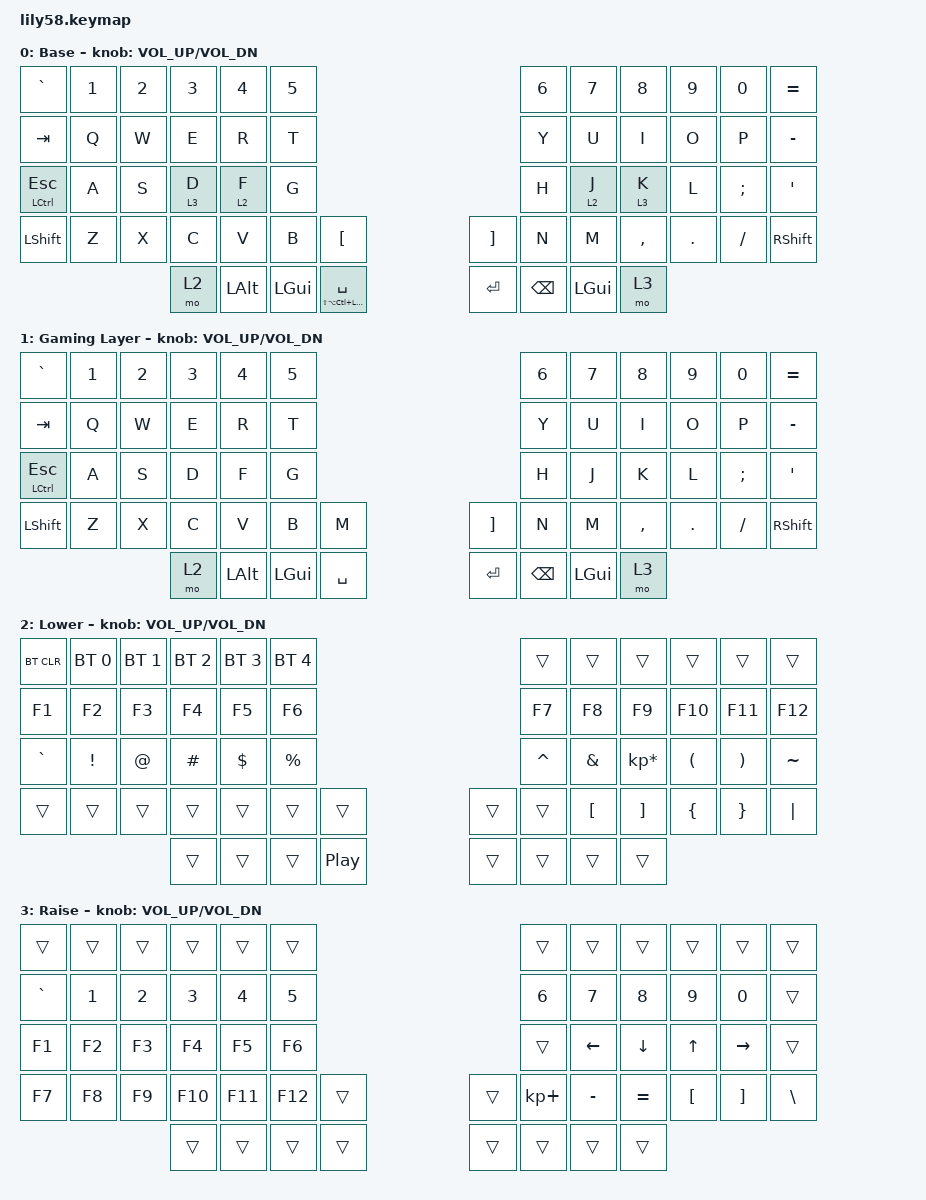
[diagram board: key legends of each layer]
/*
 * Copyright (c) 2020 The ZMK Contributors
 *
 * SPDX-License-Identifier: MIT
 */

#include <behaviors.dtsi>
#include <dt-bindings/zmk/bt.h>
#include <dt-bindings/zmk/keys.h>

/ {
    // https://zmk.dev/docs/keymaps/behaviors/hold-tap?examples=home_row_mods

    behaviors {
        hm: home_row_mod {
            compatible = "zmk,behavior-hold-tap";
            #binding-cells = <2>;
            flavor = "balanced";
            require-prior-idle-ms = <150>;
            tapping-term-ms = <280>;
            quick-tap-ms = <175>;
            bindings = <&kp>, <&kp>;

            hold-trigger-on-release;
        };
    };

    combos {
        compatible = "zmk,combos";

        combo_to_game_layer {
            bindings = <&to 1>;
            key-positions = <42 54 43 53>;
            layers = <0>;
        };

        combo_to_base_layer {
            bindings = <&to 0>;
            key-positions = <42 43 54 53>;
            layers = <1>;
        };
    };

    keymap {
        compatible = "zmk,keymap";

        default_layer {
            // ------------------------------------------------------------------------------------------------------------
            // |  ESC  |  1  |  2  |  3   |  4   |  5   |                   |  6   |  7    |  8    |  9   |   0   |   `   |
            // |  TAB  |  Q  |  W  |  E   |  R   |  T   |                   |  Y   |  U    |  I    |  O   |   P   |   -   |
            // |  CTRL |  A  |  S  |  D   |  F   |  G   |                   |  H   |  J    |  K    |  L   |   ;   |   '   |
            // | SHIFT |  Z  |  X  |  C   |  V   |  B   |   "["  |  |  "]"  |  N   |  M    |  ,    |  .   |   /   | SHIFT |
            //                     | ALT  | GUI  | LOWER|  SPACE |  | ENTER | RAISE| BSPC  | GUI   |

            display-name = "Base";
            bindings = <
&kp GRAVE         &kp N1  &kp N2  &kp N3   &kp N4    &kp N5                                                    &kp N6         &kp N7    &kp N8     &kp N9   &kp N0    &kp EQUAL
&kp TAB           &kp Q   &kp W   &kp E    &kp R     &kp T                                                     &kp Y          &kp U     &kp I      &kp O    &kp P     &kp MINUS
&mt LCTRL ESCAPE  &kp A   &kp S   &lt 3 D  &lt 2 F   &kp G                                                     &kp H          &lt 2 J   &lt 3 K    &kp L    &kp SEMI  &kp SQT
&kp LSHFT         &kp Z   &kp X   &kp C    &kp V     &kp B         &kp LBKT                          &kp RBKT  &kp N          &kp M     &kp COMMA  &kp DOT  &kp FSLH  &kp RSHFT
                                  &mo 2    &kp LALT  &kp LEFT_GUI  &hm LS(LA(LC(LEFT_GUI))) SPACE    &kp RET   &kp BACKSPACE  &kp LGUI  &mo 3
            >;

            sensor-bindings = <&inc_dec_kp C_VOL_UP C_VOL_DN>;
        };

        gaming_layer {
            display-name = "Gaming Layer";
            bindings = <
&kp GRAVE         &kp N1  &kp N2  &kp N3  &kp N4    &kp N5                               &kp N6         &kp N7    &kp N8     &kp N9   &kp N0    &kp EQUAL
&kp TAB           &kp Q   &kp W   &kp E   &kp R     &kp T                                &kp Y          &kp U     &kp I      &kp O    &kp P     &kp MINUS
&mt LCTRL ESCAPE  &kp A   &kp S   &kp D   &kp F     &kp G                                &kp H          &kp J     &kp K      &kp L    &kp SEMI  &kp SQT
&kp LSHFT         &kp Z   &kp X   &kp C   &kp V     &kp B         &kp M        &kp RBKT  &kp N          &kp M     &kp COMMA  &kp DOT  &kp FSLH  &kp RSHFT
                                  &mo 2   &kp LALT  &kp LEFT_GUI  &kp SPACE    &kp RET   &kp BACKSPACE  &kp LGUI  &mo 3
            >;

            sensor-bindings = <&inc_dec_kp C_VOL_UP C_VOL_DN>;
        };

        lower_layer {
            // ------------------------------------------------------------------------------------------------------------
            // | BTCLR | BT1 | BT2 |  BT3 |  BT4 |  BT5 |                   |      |       |       |      |       |       |
            // |  F1   |  F2 |  F3 |  F4  |  F5  |  F6  |                   |  F7  |  F8   |  F9   |  F10 |  F11  |  F12  |
            // |   `   |  !  |  @  |  #   |  $   |  %   |                   |  ^   |  &    |  *    |  (   |   )   |   ~   |
            // |       |     |     |      |      |      |        |  |       |      |  _    |  +    |  {   |   }   |  "|"  |
            //                     |      |      |      |        |  |       |      |       |       |

            display-name = "Lower";
            bindings = <
&bt BT_CLR  &bt BT_SEL 0  &bt BT_SEL 1  &bt BT_SEL 2  &bt BT_SEL 3  &bt BT_SEL 4                              &trans     &trans            &trans             &trans    &trans    &trans
&kp F1      &kp F2        &kp F3        &kp F4        &kp F5        &kp F6                                    &kp F7     &kp F8            &kp F9             &kp F10   &kp F11   &kp F12
&kp GRAVE   &kp EXCL      &kp AT        &kp HASH      &kp DOLLAR    &kp PRCNT                                 &kp CARET  &kp AMPS          &kp KP_MULTIPLY    &kp LPAR  &kp RPAR  &kp TILDE
&trans      &trans        &trans        &trans        &trans        &trans        &trans              &trans  &trans     &kp LEFT_BRACKET  &kp RIGHT_BRACKET  &kp LBRC  &kp RBRC  &kp PIPE
                                        &trans        &trans        &trans        &kp C_PLAY_PAUSE    &trans  &trans     &trans            &trans
            >;

            sensor-bindings = <&inc_dec_kp C_VOL_UP C_VOL_DN>;
        };

        raise_layer {
            // ------------------------------------------------------------------------------------------------------------
            // |       |     |     |      |      |      |                   |      |       |       |      |       |       |
            // |   `   |  1  |  2  |  3   |  4   |  5   |                   |  6   |   7   |   8   |  9   |   0   |       |
            // |   F1  |  F2 |  F3 |  F4  |  F5  |  F6  |                   |      |   <-  |   v   |  ^   |  ->   |       |
            // |   F7  |  F8 |  F9 |  F10 |  F11 |  F12 |        |  |       |  +   |   -   |   =   |  [   |   ]   |   \   |
            //                     |      |      |      |        |  |       |      |       |       |

            display-name = "Raise";
            bindings = <
&trans     &trans  &trans  &trans   &trans   &trans                     &trans       &trans     &trans     &trans    &trans     &trans
&kp GRAVE  &kp N1  &kp N2  &kp N3   &kp N4   &kp N5                     &kp N6       &kp N7     &kp N8     &kp N9    &kp N0     &trans
&kp F1     &kp F2  &kp F3  &kp F4   &kp F5   &kp F6                     &trans       &kp LEFT   &kp DOWN   &kp UP    &kp RIGHT  &trans
&kp F7     &kp F8  &kp F9  &kp F10  &kp F11  &kp F12  &trans    &trans  &kp KP_PLUS  &kp MINUS  &kp EQUAL  &kp LBKT  &kp RBKT   &kp BSLH
                           &trans   &trans   &trans   &trans    &trans  &trans       &trans     &trans
            >;

            sensor-bindings = <&inc_dec_kp C_VOL_UP C_VOL_DN>;
        };

        extra_1 { status = "reserved"; };

        extra_2 { status = "reserved"; };

        extra_3 { status = "reserved"; };
    };
};
